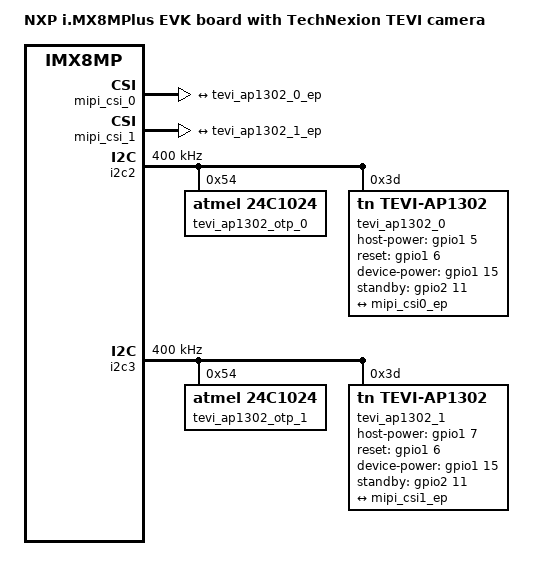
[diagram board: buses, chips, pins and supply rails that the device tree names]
// SPDX-License-Identifier: (GPL-2.0+ OR MIT)
/*
 * Copyright 2020 TechNexion Ltd.
 *
 * Author: Richard Hu <richard.hu@technexion.com>
 *         Ray Chang <ray.chang@technexion.com>
 *
 */

#include "imx8mp-evk.dts"

/ {
	model = "NXP i.MX8MPlus EVK board with TechNexion TEVI camera";
};

&iomuxc {
	ap1302_pinctrl_csi0_pwn: ap1302_csi0_pwn_grp {
		fsl,pins = <
			MX8MP_IOMUXC_SD1_STROBE__GPIO2_IO11	0x9 /* CSI1_PWDN for host-power-gpios */
			MX8MP_IOMUXC_GPIO1_IO05__GPIO1_IO05	0x9 /* INFO_TRIG_IN1 for standby-gpios */
		>;
	};

	ap1302_pinctrl_csi1_pwn: ap1302_csi1_pwn_grp {
		fsl,pins = <
			MX8MP_IOMUXC_SD1_STROBE__GPIO2_IO11	0x9 /* CSI1_PWDN for host-power-gpios */
			MX8MP_IOMUXC_GPIO1_IO07__GPIO1_IO07	0x9 /* INFO_TRIG_IN1 for standby-gpios */
		>;
	};

	ap1302_pinctrl_csi_mclk: ap1302_csi_mclk_grp {
		fsl,pins = <
			MX8MP_IOMUXC_GPIO1_IO15__GPIO1_IO15	0x9
		>;
	};

	ap1302_pinctrl_csi_rst: ap1302_csi_rst_grp {
		fsl,pins = <
			MX8MP_IOMUXC_GPIO1_IO06__GPIO1_IO06		0x19
		>;
	};
};

&mipi_csi_0 {
	#address-cells = <1>;
	#size-cells = <0>;
	status = "okay";

	port@0 {
		reg = <0>;
		mipi_csi0_ep: endpoint {
			remote-endpoint = <&tevi_ap1302_0_ep>;
			data-lanes = <4>;
			csis-hs-settle = <13>;
			csis-clk-settle = <2>;
			csis-wclk;
		};
	};
};


&mipi_csi_1 {
	#address-cells = <1>;
	#size-cells = <0>;
	status = "okay";

	port@1 {
		reg = <1>;
		mipi_csi1_ep: endpoint {
			remote-endpoint = <&tevi_ap1302_1_ep>;
			data-lanes = <4>;
			csis-hs-settle = <13>;
			csis-clk-settle = <2>;
			csis-wclk;
		};
	};
};


&i2c2 {
	clock-frequency = <400000>;

	/delete-node/ ov5640_mipi@3c;

	tevi_ap1302_otp_0: tevi_ap1302_otp@54 {
		compatible = "atmel,24c1024";
		reg = <0x54>;
		pagesize = <256>;
	};

	tevi_ap1302_0: tevi_ap1302@3d {
		compatible = "tn,tevi-ap1302";
		reg = <0x3d>;

		pinctrl-names = "default";
		pinctrl-0 = <&ap1302_pinctrl_csi0_pwn>, <&ap1302_pinctrl_csi_rst>, <&ap1302_pinctrl_csi_mclk>;
		host-power-gpios = <&gpio1 5 GPIO_ACTIVE_HIGH>;
		reset-gpios = <&gpio1 6 GPIO_ACTIVE_HIGH>;
		device-power-gpios = <&gpio1 15 GPIO_ACTIVE_HIGH>;
		standby-gpios = <&gpio2 11 GPIO_ACTIVE_HIGH>;
		nvmem = <&tevi_ap1302_otp_0>;
		nvmem-names = "calib-data";
		data-lanes = <4>;
		continuous-clock = <0>;
		status = "okay";

		port {
			tevi_ap1302_0_ep: endpoint {
				remote-endpoint = <&mipi_csi0_ep>;
			};
		};
	};
};


&i2c3 {
	clock-frequency = <400000>;

	/delete-node/ ov5640_mipi@3c;

	tevi_ap1302_otp_1: tevi_ap1302_otp@54 {
		compatible = "atmel,24c1024";
		reg = <0x54>;
		pagesize = <256>;
	};

	tevi_ap1302_1: tevi_ap1302@3d {
		compatible = "tn,tevi-ap1302";
		reg = <0x3d>;

		pinctrl-names = "default";
		pinctrl-0 = <&ap1302_pinctrl_csi1_pwn>, <&ap1302_pinctrl_csi_rst>, <&ap1302_pinctrl_csi_mclk>;
		host-power-gpios = <&gpio1 7 GPIO_ACTIVE_HIGH>;
		reset-gpios = <&gpio1 6 GPIO_ACTIVE_HIGH>;
		device-power-gpios = <&gpio1 15 GPIO_ACTIVE_HIGH>;
		standby-gpios = <&gpio2 11 GPIO_ACTIVE_HIGH>;
		nvmem = <&tevi_ap1302_otp_1>;
		nvmem-names = "calib-data";
		data-lanes = <4>;
		continuous-clock = <0>;
		status = "okay";

		port {
			tevi_ap1302_1_ep: endpoint {
				remote-endpoint = <&mipi_csi1_ep>;
			};
		};
	};
};
